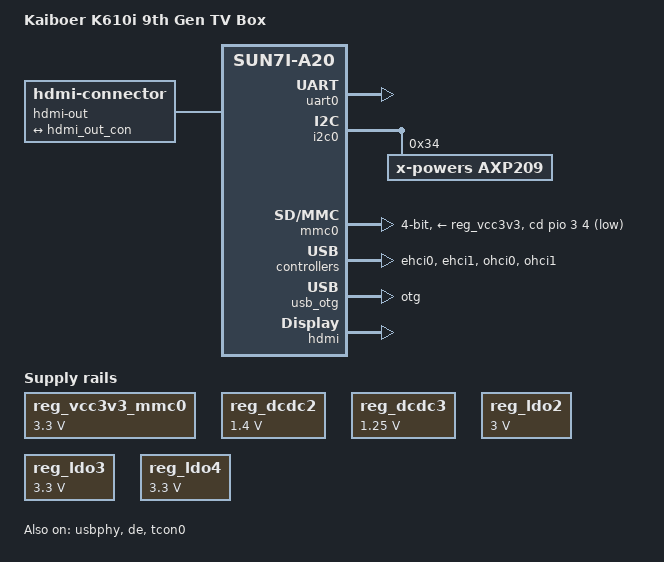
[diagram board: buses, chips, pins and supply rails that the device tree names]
// SPDX-License-Identifier: GPL-2.0+ OR MIT
/*
 * Kaiboer K610i 9th Gen TV Box (Allwinner A20/sun7i)
 * Based on vendor sys_config.fex: MMC0 PF0-5/CD PD4, UART0 PB22/23,
 * USB1 vbus PH6, USB2 vbus PH3, OTG id PH4/drv_vbus PB9, AXP209 @0x34.
 */
/dts-v1/;
#include "sun7i-a20.dtsi"
#include "sunxi-common-regulators.dtsi"
#include <dt-bindings/gpio/gpio.h>
#include <dt-bindings/interrupt-controller/irq.h>

/ {
	model = "Kaiboer K610i 9th Gen TV Box";
	compatible = "kaiboer,k610i-gen9", "allwinner,sun7i-a20";

	aliases {
		serial0 = &uart0;
		mmc0 = &mmc0;
	};

	chosen {
		stdout-path = "serial0:115200n8";
	};

	/* SD slot fixed 3.3V; FEX sdc_regulator=none */
	reg_vcc3v3_mmc0: vcc3v3-mmc0 {
		compatible = "regulator-fixed";
		regulator-name = "vcc3v3-mmc0";
		regulator-min-microvolt = <3300000>;
		regulator-max-microvolt = <3300000>;
		regulator-always-on;
	};


	hdmi-out {
		compatible = "hdmi-connector";
		type = "a";
		port {
			hdmi_con_in: endpoint {
				remote-endpoint = <&hdmi_out_con>;
			};
		};
	};
};

	/* OTG vbus drive via PB09 (FEX usb_drv_vbus_gpio=PB09) */
&reg_usb0_vbus {
    gpio = <&pio 1 9 GPIO_ACTIVE_HIGH>; /* PB09 */
    enable-active-high;
    regulator-always-on;
    status = "okay";
};
	/* USB1 host vbus PH06 (FEX usbc1 drv_vbus) */
&reg_usb1_vbus {
    gpio = <&pio 7 6 GPIO_ACTIVE_HIGH>; /* PH06 */
    enable-active-high;
    regulator-always-on;
    status = "okay";
};
	/* USB2 host vbus PH03 (FEX usbc2 drv_vbus) */
&reg_usb2_vbus {
    gpio = <&pio 7 3 GPIO_ACTIVE_HIGH>; /* PH03 */
    enable-active-high;
    regulator-always-on;
    status = "okay";
};

&cpu0 {
	cpu-supply = <&reg_dcdc2>;
};

&uart0 {
	pinctrl-names = "default";
	pinctrl-0 = <&uart0_pb_pins>;
	status = "okay";
};

&i2c0 {
	pinctrl-names = "default";
	pinctrl-0 = <&i2c0_pins>;
	status = "okay";

	axp209: pmic@34 {
		compatible = "x-powers,axp209";
		reg = <0x34>;
		interrupt-parent = <&nmi_intc>;
		interrupts = <0 IRQ_TYPE_LEVEL_LOW>;
		interrupt-controller;
		#interrupt-cells = <1>;
	};
};

&mmc0 {
	pinctrl-names = "default";
	pinctrl-0 = <&mmc0_pins>;
	vmmc-supply = <&reg_vcc3v3>;
	bus-width = <4>;
	/*
	 * FEX mmc0: sdc_det=PD4, sdc_detmode=1, active low.
	 * If U-Boot keeps printing "MMC: no card present" on a soldered slot,
	 * comment cd-gpios and use:
	 *   non-removable;
	 *   max-frequency = <25000000>;
	 */
	cd-gpios = <&pio 3 4 GPIO_ACTIVE_LOW>; /* PD04 */
	max-frequency = <50000000>;
	status = "okay";
};

&ehci0 { status = "okay"; };
&ehci1 { status = "okay"; };
&ohci0 { status = "okay"; };
&ohci1 { status = "okay"; };
&otg_sram { status = "okay"; };

&usb_otg {
	dr_mode = "otg";
	status = "okay";
};

&usbphy {
	status = "okay";
	usb0_vbus-supply = <&reg_usb0_vbus>;
	usb1_vbus-supply = <&reg_usb1_vbus>;
	usb2_vbus-supply = <&reg_usb2_vbus>;
	usb0_id_det-gpios = <&pio 7 4 GPIO_ACTIVE_HIGH>; /* PH04 */
};

&hdmi {
	status = "okay";
};

&hdmi_out {
	hdmi_out_con: endpoint {
		remote-endpoint = <&hdmi_con_in>;
	};
};

&de { status = "okay"; };
&tcon0 { status = "okay"; };

#include "axp209.dtsi"

&reg_dcdc2 {
	regulator-always-on;
	regulator-min-microvolt = <1400000>;
	regulator-max-microvolt = <1400000>;
	regulator-name = "vdd-cpu";
};

&reg_dcdc3 {
	regulator-always-on;
	regulator-min-microvolt = <1250000>;
	regulator-max-microvolt = <1250000>;
	regulator-name = "vdd-sys";
};

&reg_ldo1 {
	regulator-always-on;
	regulator-name = "vdd-rtc";
};

&reg_ldo2 {
	regulator-always-on;
	regulator-min-microvolt = <3000000>;
	regulator-max-microvolt = <3000000>;
	regulator-name = "avcc-pll";
};

&reg_ldo3 {
	regulator-always-on;
	regulator-min-microvolt = <3300000>;
	regulator-max-microvolt = <3300000>;
	regulator-name = "vcc-pll-3v3";
};

&reg_ldo4 {
	regulator-always-on;
	regulator-min-microvolt = <3300000>;
	regulator-max-microvolt = <3300000>;
	regulator-name = "vcc-pg";
};
